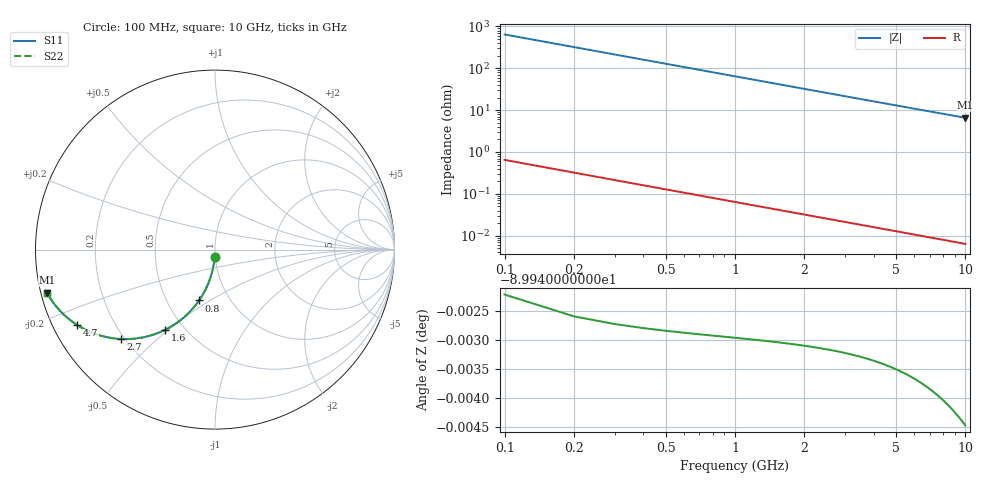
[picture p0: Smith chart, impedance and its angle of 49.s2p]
# Hz S RI R 50.00
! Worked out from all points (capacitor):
!   100 points, 100 MHz to 10 GHz, reference 50 ohm
!   read as one part in shunt: C = 2.47 pF near 100 MHz
!   lowest |Z| = 6.58 ohm at 10 GHz (marker M1)
!   S11 on the Smith chart (normalised r, x): 100 MHz: 0.99, -0.08; 800 MHz: 0.72, -0.45; 1.6 GHz: 0.39, -0.49; 2.7 GHz: 0.19, -0.39; 4.7 GHz: 0.07, -0.26; 10 GHz: 0.02, -0.13
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1e8  -0.00154 -0.0388  0.9984 -0.0388  0.9984 -0.0388  -0.00154 -0.0388
2e8  -0.00608 -0.0772  0.9939 -0.0773  0.9939 -0.0773  -0.00608 -0.0772
3e8  -0.0135 -0.1149  0.9865 -0.1151  0.9865 -0.1151  -0.0135 -0.1149
4e8  -0.0237 -0.1516  0.9762 -0.1519  0.9762 -0.1519  -0.0237 -0.1516
5e8  -0.0366 -0.187  0.9634 -0.1873  0.9634 -0.1873  -0.0366 -0.187
6e8  -0.0517 -0.2208  0.9482 -0.2212  0.9482 -0.2212  -0.0517 -0.2208
8e8  -0.0883 -0.283  0.9117 -0.2835  0.9117 -0.2835  -0.0883 -0.283
1e9  -0.1313 -0.3369  0.8687 -0.3375  0.8687 -0.3375  -0.1313 -0.3369
1.2e9  -0.1785 -0.3821  0.8214 -0.3829  0.8214 -0.3829  -0.1785 -0.3821
1.4e9  -0.2281 -0.4187  0.7719 -0.4196  0.7719 -0.4196  -0.2281 -0.4187
1.6e9  -0.2783 -0.4471  0.7217 -0.4482  0.7217 -0.4482  -0.2783 -0.4471
1.8e9  -0.3277 -0.4683  0.6723 -0.4695  0.6723 -0.4695  -0.3277 -0.4683
2.2e9  -0.4209 -0.4925  0.5791 -0.4939  0.5791 -0.4939  -0.4209 -0.4925
2.7e9  -0.522 -0.4981  0.4779 -0.4999  0.4779 -0.4999  -0.522 -0.4981
3.4e9  -0.6333 -0.4803  0.3667 -0.4825  0.3667 -0.4825  -0.6333 -0.4803
4e9  -0.7046 -0.4544  0.2954 -0.4571  0.2954 -0.4571  -0.7046 -0.4544
4.7e9  -0.7666 -0.4209  0.2333 -0.424  0.2333 -0.424  -0.7666 -0.4209
5.1e9  -0.7944 -0.4019  0.2056 -0.4053  0.2056 -0.4053  -0.7944 -0.4019
5.8e9  -0.833 -0.3705  0.167 -0.3744  0.167 -0.3744  -0.833 -0.3705
6.7e9  -0.8692 -0.3344  0.1308 -0.3389  0.1308 -0.3389  -0.8692 -0.3344
8.4e9  -0.9124 -0.2793  0.0875 -0.285  0.0875 -0.285  -0.9124 -0.2793
1e10  -0.9365 -0.2399  0.0634 -0.2467  0.0634 -0.2467  -0.9365 -0.2399
